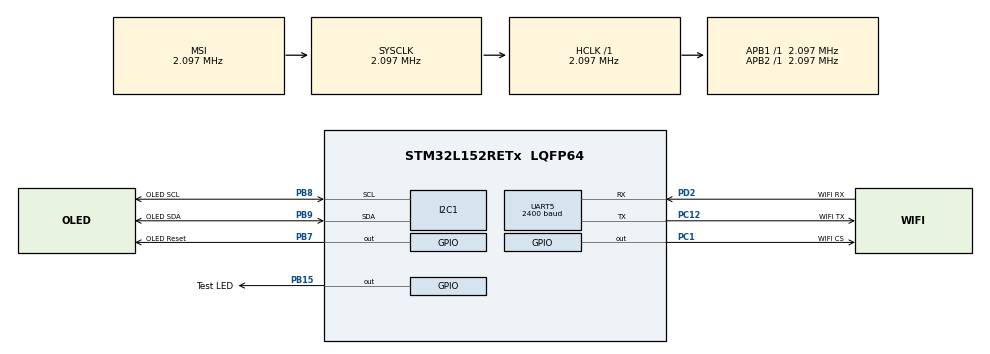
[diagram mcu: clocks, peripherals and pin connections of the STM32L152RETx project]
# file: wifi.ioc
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Mcu.Family=STM32L1
Mcu.Name=STM32L152RETx
Mcu.Package=LQFP64
NVIC.PriorityGroup=NVIC_PRIORITYGROUP_4
PB15.GPIO_Label=Test LED
PB15.PinState=GPIO_PIN_SET
PB15.Signal=GPIO_Output
PB7.GPIO_Label=OLED Reset
PB7.PinState=GPIO_PIN_SET
PB7.Signal=GPIO_Output
PB8.GPIO_Label=OLED SCL
PB8.Mode=I2C
PB8.Signal=I2C1_SCL
PB9.GPIO_Label=OLED SDA
PB9.Mode=I2C
PB9.Signal=I2C1_SDA
PC1.GPIO_Label=WIFI CS
PC1.PinState=GPIO_PIN_SET
PC1.Signal=GPIO_Output
PC12.GPIO_Label=WIFI TX
PC12.Mode=Asynchronous
PC12.Signal=UART5_TX
PD2.GPIO_Label=WIFI RX
PD2.Mode=Asynchronous
PD2.Signal=UART5_RX
ProjectManager.HeapSize=0x200
ProjectManager.StackSize=0x400
ProjectManager.TargetToolchain=TrueSTUDIO
RCC.AHBFreq_Value=2097000
RCC.APB1Freq_Value=2097000
RCC.APB2Freq_Value=2097000
RCC.HSE_VALUE=24000000
RCC.HSI_VALUE=16000000
RCC.LSE_VALUE=32768
RCC.MSI_VALUE=2097000
RCC.SYSCLKFreq_VALUE=2097000
RCC.VCOOutputFreq_Value=48000000
UART5.BaudRate=2400
UART5.VirtualMode=Asynchronous
board=wifi

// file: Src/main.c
/**
  ******************************************************************************
  * File Name          : main.c
  * Description        : Main program body
  ******************************************************************************
  ** This notice applies to any and all portions of this file
  * that are not between comment pairs USER CODE BEGIN and
  * USER CODE END. Other portions of this file, whether
  * inserted by the user or by software development tools
  * are owned by their respective copyright owners.
  *
  * COPYRIGHT(c) 2018 STMicroelectronics
  *
  * Redistribution and use in source and binary forms, with or without modification,
  * are permitted provided that the following conditions are met:
  *   1. Redistributions of source code must retain the above copyright notice,
  *      this list of conditions and the following disclaimer.
  *   2. Redistributions in binary form must reproduce the above copyright notice,
  *      this list of conditions and the following disclaimer in the documentation
  *      and/or other materials provided with the distribution.
  *   3. Neither the name of STMicroelectronics nor the names of its contributors
  *      may be used to endorse or promote products derived from this software
  *      without specific prior written permission.
  *
  * THIS SOFTWARE IS PROVIDED BY THE COPYRIGHT HOLDERS AND CONTRIBUTORS "AS IS"
  * AND ANY EXPRESS OR IMPLIED WARRANTIES, INCLUDING, BUT NOT LIMITED TO, THE
  * IMPLIED WARRANTIES OF MERCHANTABILITY AND FITNESS FOR A PARTICULAR PURPOSE ARE
  * DISCLAIMED. IN NO EVENT SHALL THE COPYRIGHT HOLDER OR CONTRIBUTORS BE LIABLE
  * FOR ANY DIRECT, INDIRECT, INCIDENTAL, SPECIAL, EXEMPLARY, OR CONSEQUENTIAL
  * DAMAGES (INCLUDING, BUT NOT LIMITED TO, PROCUREMENT OF SUBSTITUTE GOODS OR
  * SERVICES; LOSS OF USE, DATA, OR PROFITS; OR BUSINESS INTERRUPTION) HOWEVER
  * CAUSED AND ON ANY THEORY OF LIABILITY, WHETHER IN CONTRACT, STRICT LIABILITY,
  * OR TORT (INCLUDING NEGLIGENCE OR OTHERWISE) ARISING IN ANY WAY OUT OF THE USE
  * OF THIS SOFTWARE, EVEN IF ADVISED OF THE POSSIBILITY OF SUCH DAMAGE.
  *
  ******************************************************************************
  */

#include "main.h"
#include "stm32l1xx_hal.h"
#include <string.h>

/* USER CODE BEGIN Includes */
#include "ssd1306.h"

/* USER CODE END Includes */

I2C_HandleTypeDef hi2c1;

UART_HandleTypeDef huart5;

/* USER CODE BEGIN PV */
/* Private variables ---------------------------------------------------------*/

/* USER CODE END PV */

void SystemClock_Config(void);
static void MX_GPIO_Init(void);
static void MX_UART5_Init(void);
static void MX_I2C1_Init(void);

/* USER CODE BEGIN PFP */
/* Private function prototypes -----------------------------------------------*/
void esp8266Write(char* command, uint16_t readBytes, uint32_t timeout);
/* USER CODE END PFP */

int main(void)
{

  /* USER CODE BEGIN 1 */
  //char rcvBuffer[80] = "";
  /* USER CODE END 1 */

  /* MCU Configuration----------------------------------------------------------*/

  /* Reset of all peripherals, Initializes the Flash interface and the Systick. */
  HAL_Init();

  /* Configure the system clock */
  SystemClock_Config();

  /* Initialize all configured peripherals */
  MX_GPIO_Init();
  MX_UART5_Init();
  MX_I2C1_Init();

  /* USER CODE BEGIN 2 */
  ssd1306Init();
  clearScreen();
  ssd1306_WriteString("YO YO YO", 1);
  updateScreen();

  esp8266Write("AT", 80, 500);
  esp8266Write("AT+CWQAP", 80, 500);
  esp8266Write("AT+CWJAP_CUR=\"SCOTTCAMPUS\",\"mavericks\"", 76, 10000);
  esp8266Write("AT+CIPSTART=\"TCP\",\"18.221.30.192\",3000", 80, 500);
  esp8266Write("AT+CIPCLOSE", 80, 500);

  /*clearScreen();
  HAL_UART_Receive(&huart5, (uint8_t*)rcvBuffer, 80, 500);
  HAL_UART_Transmit(&huart5, (uint8_t*)"AT\r\n", 4, 50);
  HAL_UART_Receive(&huart5, (uint8_t*)rcvBuffer, 80, 500);
  ssd1306_WriteString(rcvBuffer, 1);
  updateScreen();

  clearScreen();
  HAL_UART_Receive(&huart5, (uint8_t*)rcvBuffer, 80, 500);
  HAL_UART_Transmit(&huart5, (uint8_t*)"AT+CWQAP\r\n", 10, 50);
  HAL_UART_Receive(&huart5, (uint8_t*)rcvBuffer, 80, 500);
  ssd1306_WriteString(rcvBuffer, 1);
  updateScreen();

  clearScreen();
  HAL_UART_Receive(&huart5, (uint8_t*)rcvBuffer, 80, 500);
  HAL_UART_Transmit(&huart5, (uint8_t*)"AT+CWJAP_CUR=\"SCOTTCAMPUS\",\"mavericks\"\r\n", 40, 50);
  HAL_UART_Receive(&huart5, (uint8_t*)rcvBuffer, 76, 10000);
  ssd1306_WriteString(rcvBuffer, 1);
  updateScreen();

  clearScreen();
  HAL_UART_Receive(&huart5, (uint8_t*)rcvBuffer, 80, 500);
  HAL_UART_Transmit(&huart5, (uint8_t*)"AT+CIPSTART=\"TCP\",\"18.221.30.192\",3000\r\n", 40, 50);
  HAL_UART_Receive(&huart5, (uint8_t*)rcvBuffer, 80, 500);
  ssd1306_WriteString(rcvBuffer, 1);
  updateScreen();

  clearScreen();
  HAL_UART_Receive(&huart5, (uint8_t*)rcvBuffer, 80, 500);
  HAL_UART_Transmit(&huart5, (uint8_t*)"AT+CIPCLOSE\r\n", 13, 50);
  HAL_UART_Receive(&huart5, (uint8_t*)rcvBuffer, 80, 500);
  ssd1306_WriteString(rcvBuffer, 1);
  updateScreen();*/
  /* USER CODE END 2 */

  /* Infinite loop */
  while (1)
  {

  }

}

/** System Clock Configuration
*/
void SystemClock_Config(void)
{

  RCC_OscInitTypeDef RCC_OscInitStruct;
  RCC_ClkInitTypeDef RCC_ClkInitStruct;

    /**Configure the main internal regulator output voltage
    */
  __HAL_PWR_VOLTAGESCALING_CONFIG(PWR_REGULATOR_VOLTAGE_SCALE1);

    /**Initializes the CPU, AHB and APB busses clocks
    */
  RCC_OscInitStruct.OscillatorType = RCC_OSCILLATORTYPE_MSI;
  RCC_OscInitStruct.MSIState = RCC_MSI_ON;
  RCC_OscInitStruct.MSICalibrationValue = 0;
  RCC_OscInitStruct.MSIClockRange = RCC_MSIRANGE_5;
  RCC_OscInitStruct.PLL.PLLState = RCC_PLL_NONE;
  if (HAL_RCC_OscConfig(&RCC_OscInitStruct) != HAL_OK)
  {
    _Error_Handler(__FILE__, __LINE__);
  }

    /**Initializes the CPU, AHB and APB busses clocks
    */
  RCC_ClkInitStruct.ClockType = RCC_CLOCKTYPE_HCLK|RCC_CLOCKTYPE_SYSCLK
                              |RCC_CLOCKTYPE_PCLK1|RCC_CLOCKTYPE_PCLK2;
  RCC_ClkInitStruct.SYSCLKSource = RCC_SYSCLKSOURCE_MSI;
  RCC_ClkInitStruct.AHBCLKDivider = RCC_SYSCLK_DIV1;
  RCC_ClkInitStruct.APB1CLKDivider = RCC_HCLK_DIV1;
  RCC_ClkInitStruct.APB2CLKDivider = RCC_HCLK_DIV1;

  if (HAL_RCC_ClockConfig(&RCC_ClkInitStruct, FLASH_LATENCY_0) != HAL_OK)
  {
    _Error_Handler(__FILE__, __LINE__);
  }

    /**Configure the Systick interrupt time
    */
  HAL_SYSTICK_Config(HAL_RCC_GetHCLKFreq()/1000);

    /**Configure the Systick
    */
  HAL_SYSTICK_CLKSourceConfig(SYSTICK_CLKSOURCE_HCLK);

  /* SysTick_IRQn interrupt configuration */
  HAL_NVIC_SetPriority(SysTick_IRQn, 0, 0);
}

/* I2C1 init function */
static void MX_I2C1_Init(void)
{

  hi2c1.Instance = I2C1;
  hi2c1.Init.ClockSpeed = 100000;
  hi2c1.Init.DutyCycle = I2C_DUTYCYCLE_2;
  hi2c1.Init.OwnAddress1 = 0;
  hi2c1.Init.AddressingMode = I2C_ADDRESSINGMODE_7BIT;
  hi2c1.Init.DualAddressMode = I2C_DUALADDRESS_DISABLE;
  hi2c1.Init.OwnAddress2 = 0;
  hi2c1.Init.GeneralCallMode = I2C_GENERALCALL_DISABLE;
  hi2c1.Init.NoStretchMode = I2C_NOSTRETCH_DISABLE;
  if (HAL_I2C_Init(&hi2c1) != HAL_OK)
  {
    _Error_Handler(__FILE__, __LINE__);
  }

}

/* UART5 init function */
static void MX_UART5_Init(void)
{

  huart5.Instance = UART5;
  huart5.Init.BaudRate = 2400;
  huart5.Init.WordLength = UART_WORDLENGTH_8B;
  huart5.Init.StopBits = UART_STOPBITS_1;
  huart5.Init.Parity = UART_PARITY_NONE;
  huart5.Init.Mode = UART_MODE_TX_RX;
  huart5.Init.HwFlowCtl = UART_HWCONTROL_NONE;
  huart5.Init.OverSampling = UART_OVERSAMPLING_16;
  if (HAL_UART_Init(&huart5) != HAL_OK)
  {
    _Error_Handler(__FILE__, __LINE__);
  }

}

/** Configure pins as
        * Analog
        * Input
        * Output
        * EVENT_OUT
        * EXTI
*/
static void MX_GPIO_Init(void)
{

  GPIO_InitTypeDef GPIO_InitStruct;

  /* GPIO Ports Clock Enable */
  __HAL_RCC_GPIOC_CLK_ENABLE();
  __HAL_RCC_GPIOB_CLK_ENABLE();
  __HAL_RCC_GPIOD_CLK_ENABLE();

  /*Configure GPIO pin Output Level */
  HAL_GPIO_WritePin(WIFI_CS_GPIO_Port, WIFI_CS_Pin, GPIO_PIN_SET);

  /*Configure GPIO pin Output Level */
  HAL_GPIO_WritePin(GPIOB, Test_LED_Pin|OLED_Reset_Pin, GPIO_PIN_SET);

  /*Configure GPIO pin : WIFI_CS_Pin */
  GPIO_InitStruct.Pin = WIFI_CS_Pin;
  GPIO_InitStruct.Mode = GPIO_MODE_OUTPUT_PP;
  GPIO_InitStruct.Pull = GPIO_NOPULL;
  GPIO_InitStruct.Speed = GPIO_SPEED_FREQ_LOW;
  HAL_GPIO_Init(WIFI_CS_GPIO_Port, &GPIO_InitStruct);

  /*Configure GPIO pins : Test_LED_Pin OLED_Reset_Pin */
  GPIO_InitStruct.Pin = Test_LED_Pin|OLED_Reset_Pin;
  GPIO_InitStruct.Mode = GPIO_MODE_OUTPUT_PP;
  GPIO_InitStruct.Pull = GPIO_NOPULL;
  GPIO_InitStruct.Speed = GPIO_SPEED_FREQ_LOW;
  HAL_GPIO_Init(GPIOB, &GPIO_InitStruct);

}

/* USER CODE BEGIN 4 */
void esp8266Write(char* command, uint16_t readBytes, uint32_t timeout)
{
	char rcvBuffer[80] = "";
	uint16_t length = strlen(command);
	HAL_UART_Transmit(&huart5, (uint8_t*)command, length, 50);
	HAL_UART_Transmit(&huart5, (uint8_t*)"\r\n", 2, 50);
	HAL_UART_Receive(&huart5, (uint8_t*)rcvBuffer, readBytes, timeout);
	clearScreen();
	ssd1306_WriteString(rcvBuffer, 1);
	updateScreen();
}
/* USER CODE END 4 */

void _Error_Handler(char * file, int line)
{
  while(1)
  {
  }
}

/************************ (C) COPYRIGHT STMicroelectronics *****END OF FILE****/
